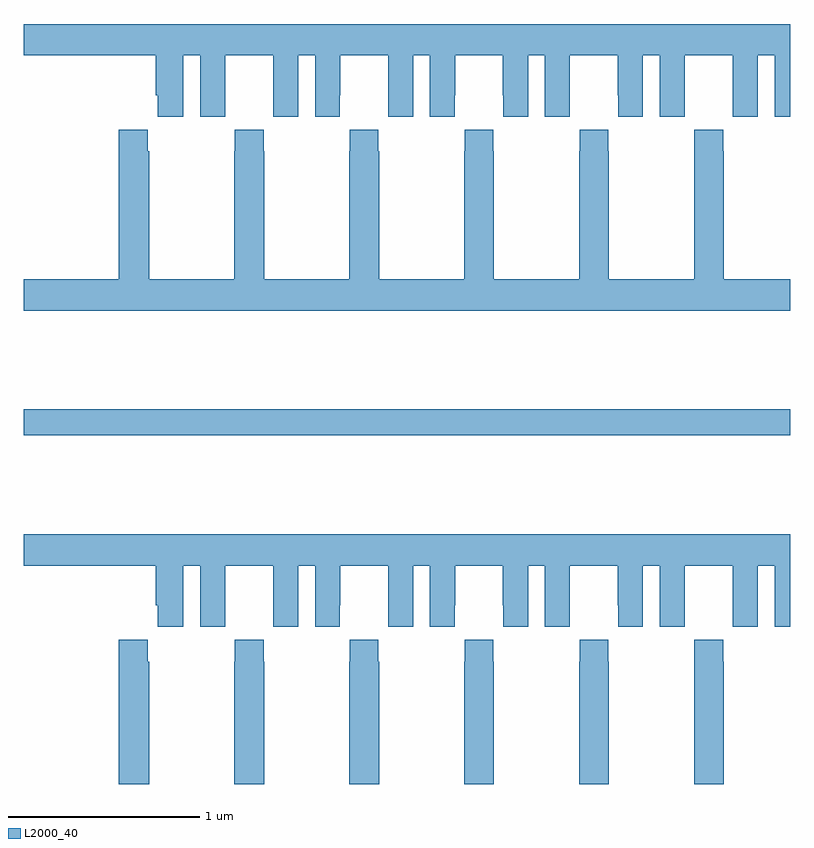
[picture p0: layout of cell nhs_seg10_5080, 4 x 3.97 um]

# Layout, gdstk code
import gdstk
lib = gdstk.Library(unit=1e-6, precision=1e-09)
def R(c, l, rs):  # rectangles x0, y0, x1, y1
    for r in rs: c.add(gdstk.rectangle(r[:2], r[2:], *l))
def P(c, l, *ps):  # polygons
    for p in ps: c.add(gdstk.Polygon(p, *l))
L2000_40 = (2000, 40)

nhs_seg10_5080 = lib.new_cell('nhs_seg10_5080')
R(nhs_seg10_5080, L2000_40, [(405,1310.32,409,1310.456)])
P(nhs_seg10_5080, L2000_40, [(405,1312.304),(405.689,1312.304),(405.689,1312.096),(405.698,1312.096),(405.698,1311.984),(405.832,1311.984),(405.832,1312.304),(405.92,1312.304),(405.92,1311.984),(406.05,1311.984),(406.05,1312.096),(406.051,1312.096),(406.051,1312.304),(406.301,1312.304),(406.301,1312.096),(406.302,1312.096),(406.302,1311.984),(406.432,1311.984),(406.432,1312.304),(406.52,1312.304),(406.52,1311.984),(406.65,1311.984),(406.65,1312.096),(406.651,1312.096),(406.651,1312.304),(406.901,1312.304),(406.901,1312.096),(406.902,1312.096),(406.902,1311.984),(407.032,1311.984),(407.032,1312.304),(407.12,1312.304),(407.12,1311.984),(407.25,1311.984),(407.25,1312.096),(407.251,1312.096),(407.251,1312.304),(407.501,1312.304),(407.501,1312.096),(407.502,1312.096),(407.502,1311.984),(407.632,1311.984),(407.632,1312.304),(407.72,1312.304),(407.72,1311.984),(407.85,1311.984),(407.85,1312.096),(407.851,1312.096),(407.851,1312.304),(408.101,1312.304),(408.101,1312.096),(408.102,1312.096),(408.102,1311.984),(408.232,1311.984),(408.232,1312.304),(408.32,1312.304),(408.32,1311.984),(408.45,1311.984),(408.45,1312.096),(408.451,1312.096),(408.451,1312.304),(408.701,1312.304),(408.701,1312.096),(408.702,1312.096),(408.702,1311.984),(408.832,1311.984),(408.832,1312.304),(408.92,1312.304),(408.92,1311.984),(409,1311.984),(409,1312.468),(405,1312.468)],
  [(407.451,1311.803),(407.451,1311.916),(407.301,1311.916),(407.301,1311.803),(407.299,1311.803),(407.299,1311.136),(406.854,1311.136),(406.854,1311.803),(406.851,1311.803),(406.851,1311.916),(406.701,1311.916),(406.701,1311.803),(406.699,1311.803),(406.699,1311.136),(406.254,1311.136),(406.254,1311.803),(406.251,1311.803),(406.251,1311.916),(406.101,1311.916),(406.101,1311.803),(406.099,1311.803),(406.099,1311.136),(405.654,1311.136),(405.654,1311.803),(405.647,1311.803),(405.647,1311.916),(405.494,1311.916),(405.494,1311.136),(405,1311.136),(405,1310.972),(409,1310.972),(409,1311.136),(408.654,1311.136),(408.654,1311.803),(408.651,1311.803),(408.651,1311.916),(408.501,1311.916),(408.501,1311.803),(408.499,1311.803),(408.499,1311.136),(408.054,1311.136),(408.054,1311.803),(408.051,1311.803),(408.051,1311.916),(407.901,1311.916),(407.901,1311.803),(407.899,1311.803),(407.899,1311.136),(407.454,1311.136),(407.454,1311.803)],
  [(405.832,1309.64),(405.92,1309.64),(405.92,1309.32),(406.05,1309.32),(406.05,1309.432),(406.051,1309.432),(406.051,1309.64),(406.301,1309.64),(406.301,1309.432),(406.302,1309.432),(406.302,1309.32),(406.432,1309.32),(406.432,1309.64),(406.52,1309.64),(406.52,1309.32),(406.65,1309.32),(406.65,1309.432),(406.651,1309.432),(406.651,1309.64),(406.901,1309.64),(406.901,1309.432),(406.902,1309.432),(406.902,1309.32),(407.032,1309.32),(407.032,1309.64),(407.12,1309.64),(407.12,1309.32),(407.25,1309.32),(407.25,1309.432),(407.251,1309.432),(407.251,1309.64),(407.501,1309.64),(407.501,1309.432),(407.502,1309.432),(407.502,1309.32),(407.632,1309.32),(407.632,1309.64),(407.72,1309.64),(407.72,1309.32),(407.85,1309.32),(407.85,1309.432),(407.851,1309.432),(407.851,1309.64),(408.101,1309.64),(408.101,1309.432),(408.102,1309.432),(408.102,1309.32),(408.232,1309.32),(408.232,1309.64),(408.32,1309.64),(408.32,1309.32),(408.45,1309.32),(408.45,1309.432),(408.451,1309.432),(408.451,1309.64),(408.701,1309.64),(408.701,1309.432),(408.702,1309.432),(408.702,1309.32),(408.832,1309.32),(408.832,1309.64),(408.92,1309.64),(408.92,1309.32),(409,1309.32),(409,1309.804),(405,1309.804),(405,1309.64),(405.689,1309.64),(405.689,1309.432),(405.698,1309.432),(405.698,1309.32),(405.832,1309.32)],
  [(405.654,1309.139),(405.647,1309.139),(405.647,1309.252),(405.494,1309.252),(405.494,1308.5),(405.654,1308.5)],
  [(408.654,1309.139),(408.651,1309.139),(408.651,1309.252),(408.501,1309.252),(408.501,1309.139),(408.499,1309.139),(408.499,1308.5),(408.654,1308.5)],
  [(408.054,1309.139),(408.051,1309.139),(408.051,1309.252),(407.901,1309.252),(407.901,1309.139),(407.899,1309.139),(407.899,1308.5),(408.054,1308.5)],
  [(407.454,1309.139),(407.451,1309.139),(407.451,1309.252),(407.301,1309.252),(407.301,1309.139),(407.299,1309.139),(407.299,1308.5),(407.454,1308.5)],
  [(406.854,1309.139),(406.851,1309.139),(406.851,1309.252),(406.701,1309.252),(406.701,1309.139),(406.699,1309.139),(406.699,1308.5),(406.854,1308.5)],
  [(406.254,1309.139),(406.251,1309.139),(406.251,1309.252),(406.101,1309.252),(406.101,1309.139),(406.099,1309.139),(406.099,1308.5),(406.254,1308.5)])

lib.write_gds('nhs_seg10_5080.gds')
